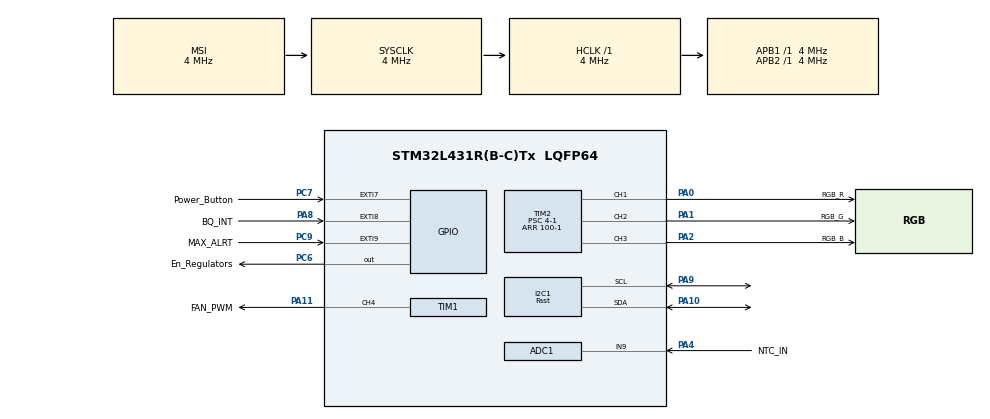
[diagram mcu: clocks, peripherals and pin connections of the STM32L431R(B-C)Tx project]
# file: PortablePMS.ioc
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ADC1.Channel-2\#ChannelRegularConversion=ADC_CHANNEL_9
ADC1.ClockPrescaler=ADC_CLOCK_ASYNC_DIV4
ADC1.NbrOfConversionFlag=1
ADC1.OffsetNumber-2\#ChannelRegularConversion=ADC_OFFSET_NONE
ADC1.Rank-2\#ChannelRegularConversion=1
ADC1.SamplingTime-2\#ChannelRegularConversion=ADC_SAMPLETIME_247CYCLES_5
ADC1.master=1
I2C1.I2C_Speed_Mode=I2C_Fast
I2C1.Timing=0x00000004
Mcu.Family=STM32L4
Mcu.Name=STM32L431R(B-C)Tx
Mcu.Package=LQFP64
NVIC.EXTI9_5_IRQn=true\:0\:0\:false\:false\:true\:true\:true\:true
NVIC.PriorityGroup=NVIC_PRIORITYGROUP_4
NVIC.TIM1_BRK_TIM15_IRQn=true\:0\:0\:false\:false\:true\:true\:true\:true
PA0.GPIO_Label=RGB_R
PA0.Signal=S_TIM2_CH1
PA1.GPIO_Label=RGB_G
PA1.Signal=S_TIM2_CH2
PA10.Mode=I2C
PA10.Signal=I2C1_SDA
PA11.GPIO_Label=FAN_PWM
PA11.Signal=S_TIM1_CH4
PA13\ (JTMS-SWDIO).Mode=Trace_Asynchronous_SW
PA13\ (JTMS-SWDIO).Signal=SYS_JTMS-SWDIO
PA14\ (JTCK-SWCLK).Mode=Trace_Asynchronous_SW
PA14\ (JTCK-SWCLK).Signal=SYS_JTCK-SWCLK
PA2.GPIO_Label=RGB_B
PA2.Signal=S_TIM2_CH3
PA4.GPIO_Label=NTC_IN
PA4.Signal=ADCx_IN9
PA8.GPIO_Label=BQ_INT
PA8.GPIO_ModeDefaultEXTI=GPIO_MODE_IT_FALLING
PA8.GPIO_PuPd=GPIO_PULLUP
PA8.Signal=GPXTI8
PA9.Mode=I2C
PA9.Signal=I2C1_SCL
PB3\ (JTDO-TRACESWO).Mode=Trace_Asynchronous_SW
PB3\ (JTDO-TRACESWO).Signal=SYS_JTDO-SWO
PC6.GPIO_Label=En_Regulators
PC6.Signal=GPIO_Output
PC7.GPIO_Label=Power_Button
PC7.GPIO_ModeDefaultEXTI=GPIO_MODE_IT_RISING_FALLING
PC7.GPIO_PuPd=GPIO_PULLUP
PC7.Signal=GPXTI7
PC9.GPIO_Label=MAX_ALRT
PC9.GPIO_ModeDefaultEXTI=GPIO_MODE_IT_FALLING
PC9.GPIO_PuPd=GPIO_PULLUP
PC9.Signal=GPXTI9
ProjectManager.HeapSize=0x200
ProjectManager.StackSize=0x400
ProjectManager.TargetToolchain=STM32CubeIDE
RCC.ADCCLockSelection=RCC_ADCCLKSOURCE_SYSCLK
RCC.ADCFreq_Value=4000000
RCC.AHBFreq_Value=4000000
RCC.APB1Freq_Value=4000000
RCC.APB1TimFreq_Value=4000000
RCC.APB2Freq_Value=4000000
RCC.APB2TimFreq_Value=4000000
RCC.CortexFreq_Value=4000000
RCC.HCLKFreq_Value=4000000
RCC.HSE_VALUE=8000000
RCC.HSI48_VALUE=48000000
RCC.HSI_VALUE=16000000
RCC.LSE_VALUE=32768
RCC.MSI_VALUE=4000000
RCC.PLLN=16
RCC.PLLSAI1N=16
RCC.SYSCLKFreq_VALUE=4000000
RCC.VCOOutputFreq_Value=64000000
SH.ADCx_IN9.0=ADC1_IN9,IN9-Single-Ended
SH.S_TIM1_CH4.0=TIM1_CH4,PWM Generation4 CH4
SH.S_TIM2_CH1.0=TIM2_CH1,PWM Generation1 CH1
SH.S_TIM2_CH2.0=TIM2_CH2,PWM Generation2 CH2
SH.S_TIM2_CH3.0=TIM2_CH3,PWM Generation3 CH3
TIM1.Channel-PWM\ Generation4\ CH4=TIM_CHANNEL_4
TIM1.Period=100
TIM1.Prescaler=4-1
TIM15.Period=50
TIM15.Prescaler=4000
TIM2.Channel-PWM\ Generation1\ CH1=TIM_CHANNEL_1
TIM2.Channel-PWM\ Generation2\ CH2=TIM_CHANNEL_2
TIM2.Channel-PWM\ Generation3\ CH3=TIM_CHANNEL_3
TIM2.Period=100-1
TIM2.Prescaler=4-1
VP_TIM15_VS_ClockSourceINT.Mode=Internal
VP_TIM1_VS_ClockSourceINT.Mode=Internal
VP_TIM2_VS_ClockSourceINT.Mode=Internal
board=custom

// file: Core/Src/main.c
/* USER CODE BEGIN Header */
/**
  ******************************************************************************
  * @file           : main.c
  * @brief          : Main program body
  ******************************************************************************
  * @attention
  *
  * Copyright (c) 2022 STMicroelectronics.
  * All rights reserved.
  *
  * This software is licensed under terms that can be found in the LICENSE file
  * in the root directory of this software component.
  * If no LICENSE file comes with this software, it is provided AS-IS.
  *
  ******************************************************************************
  */
/* USER CODE END Header */
#include "main.h"

/* USER CODE BEGIN Includes */
#include "pid.h"
#include "BQ24295.h"
#include "max17048.h"
#include "math.h"
/* USER CODE END Includes */

/* USER CODE BEGIN PD */

/*		MAIN CONTROLS		*/

#define ENABLEPID					true
#define USINGLM49450				true

/*debouncing Controls*/
#define BUTTON_DEBOUNCE_MS			100
#define BUTTON_SHORTPRESS_PERIOD	500
#define BUTTON_LONGPRESS_PERIOD		1000 //(total is (debounce + shortpress + longpress) periods
#define BUTTON_UNINTENTIONAL_PERIOD	4000 //pressed on random object

/*		PID CONTROLS		*/
double MeasuredTemperature;
double PIDOut;
double Temperautre_SetPoint = 40;
PID_TypeDef Fan_PID;

/* USER CODE END PD */

ADC_HandleTypeDef hadc1;

I2C_HandleTypeDef hi2c1;

TIM_HandleTypeDef htim1;
TIM_HandleTypeDef htim2;
TIM_HandleTypeDef htim15;

/* USER CODE BEGIN PV */
//TODO:
//IMPLEMENT ERRORS
uint8_t GLOBAL_errors = 0;	//Error codes in main.h (UNIMPLEMENTED YET)

/*		FLAGS		*/
bool BQ_FLAG = false;
bool MAX_FLAG = false;

bool PowerButtonDebounced = true;
bool IsPressPeriodStart = false;
bool PowerButtonShortPress = false;
bool PowerButtonLongPress = false;
bool PowerButtonUnintentionalPress = false;

bool SystemPowerState = false;
bool InitialSystemBoot = false;
bool RequestSleep = false;
bool IsSystemCharging = false;

/* USER CODE END PV */

void SystemClock_Config(void);
static void MX_GPIO_Init(void);
static void MX_I2C1_Init(void);
static void MX_TIM2_Init(void);
static void MX_TIM15_Init(void);
static void MX_ADC1_Init(void);
static void MX_TIM1_Init(void);

/* USER CODE BEGIN 0 */

void EnterSleepModeWakeOnInturrupt() {
	HAL_SuspendTick();
	HAL_PWR_EnterSLEEPMode(PWR_MAINREGULATOR_ON, PWR_SLEEPENTRY_WFI);
}
void WakeUpFromSleepMode(){
	HAL_ResumeTick();
}

/*		INURRUPT CODE		*/
void HAL_GPIO_EXTI_Callback(uint16_t GPIO_Pin)
{
	if(GPIO_Pin == BQ_INT_Pin) // BQ INT pin wake up
	{
		WakeUpFromSleepMode();
		BQ_FLAG = true;
	}
	if(GPIO_Pin == MAX_ALRT_Pin)
	{
		WakeUpFromSleepMode();
		MAX_FLAG = true;

	}
	if(GPIO_Pin == Power_Button_Pin)
	{
		if(HAL_GPIO_ReadPin(Power_Button_GPIO_Port, Power_Button_Pin) == GPIO_PIN_RESET
				&& PowerButtonDebounced && !IsPressPeriodStart)
		{
			HAL_TIM_Base_Start_IT(&htim15);	//Start Debounce
			PowerButtonDebounced = false;
		}
		if(HAL_GPIO_ReadPin(Power_Button_GPIO_Port, Power_Button_Pin) == GPIO_PIN_SET &&
				PowerButtonDebounced && IsPressPeriodStart && PowerButtonShortPress &&
				PowerButtonLongPress && !SystemPowerState)
		{
			//All conditions met turn ON system and clear for next button
			HAL_TIM_Base_Stop_IT(&htim15);
			__HAL_TIM_SET_AUTORELOAD(&htim15, BUTTON_DEBOUNCE_MS);	//Reset power button debounce period
			SystemPowerState = true;
			PowerButtonDebounced = true;
			IsPressPeriodStart = false;
			PowerButtonShortPress = false;
			PowerButtonLongPress = false;
		}
		else if(HAL_GPIO_ReadPin(Power_Button_GPIO_Port, Power_Button_Pin) == GPIO_PIN_SET &&
				PowerButtonDebounced && IsPressPeriodStart && PowerButtonShortPress &&
				PowerButtonLongPress && SystemPowerState)
		{
			//All conditions met turn OFF system and clear for next button
			HAL_TIM_Base_Stop_IT(&htim15);
			__HAL_TIM_SET_AUTORELOAD(&htim15, BUTTON_DEBOUNCE_MS);	//Reset power button debounce period
			SystemPowerState = false;
			PowerButtonDebounced = true;
			IsPressPeriodStart = false;
			PowerButtonShortPress = false;
			PowerButtonLongPress = false;
		}

	}

}

void HAL_TIM_PeriodElapsedCallback(TIM_HandleTypeDef *htim)
{
  /* Prevent unused argument(s) compilation warning */
  UNUSED(htim);

  /* NOTE : This function should not be modified, when the callback is needed,
            the HAL_TIM_PeriodElapsedCallback could be implemented in the user file
   */
	if(HAL_GPIO_ReadPin(Power_Button_GPIO_Port, Power_Button_Pin) == GPIO_PIN_RESET && !PowerButtonDebounced){
		HAL_TIM_Base_Stop_IT(&htim15);
		PowerButtonDebounced = true;

	}
	if(HAL_GPIO_ReadPin(Power_Button_GPIO_Port, Power_Button_Pin) == GPIO_PIN_RESET && !IsPressPeriodStart){

		__HAL_TIM_SET_AUTORELOAD(&htim15, BUTTON_SHORTPRESS_PERIOD);
		HAL_TIM_Base_Start_IT(&htim15);
		IsPressPeriodStart = true;
		PowerButtonShortPress = false;
	}
	else if(HAL_GPIO_ReadPin(Power_Button_GPIO_Port, Power_Button_Pin) == GPIO_PIN_RESET && !PowerButtonShortPress){
		HAL_TIM_Base_Stop_IT(&htim15);
		__HAL_TIM_SET_AUTORELOAD(&htim15, BUTTON_LONGPRESS_PERIOD);
		HAL_TIM_Base_Start_IT(&htim15);
		PowerButtonShortPress = true;
		PowerButtonLongPress = false;
	}
	else if(HAL_GPIO_ReadPin(Power_Button_GPIO_Port, Power_Button_Pin) == GPIO_PIN_RESET && !PowerButtonLongPress){
		HAL_TIM_Base_Stop_IT(&htim15);
		PowerButtonLongPress = true;
		PowerButtonUnintentionalPress = false;
		__HAL_TIM_SET_AUTORELOAD(&htim15, BUTTON_UNINTENTIONAL_PERIOD);
		HAL_TIM_Base_Start_IT(&htim15);
	}
	else if(HAL_GPIO_ReadPin(Power_Button_GPIO_Port, Power_Button_Pin) == GPIO_PIN_RESET && !PowerButtonUnintentionalPress)
	{
		//unintentional button press so clear everything for next press
		HAL_TIM_Base_Stop_IT(&htim15);
		__HAL_TIM_SET_AUTORELOAD(&htim15, BUTTON_DEBOUNCE_MS);	//Reset power button debounce period
		PowerButtonDebounced = true;
		IsPressPeriodStart = false;
		PowerButtonShortPress = false;
		PowerButtonLongPress = false;
	}

	if(HAL_GPIO_ReadPin(Power_Button_GPIO_Port, Power_Button_Pin) == GPIO_PIN_SET && IsPressPeriodStart)
	{
		//Cancelled press so clear everything for next press
		HAL_TIM_Base_Stop_IT(&htim15);
		__HAL_TIM_SET_AUTORELOAD(&htim15, BUTTON_DEBOUNCE_MS);	//Reset power button debounce period
		PowerButtonDebounced = true;
		IsPressPeriodStart = false;
		PowerButtonShortPress = false;
		PowerButtonLongPress = false;
		PowerButtonUnintentionalPress = false;
	}

}

/*
 * MAX17048
 */

#define Battery_UnderVoltage	3200
#define Battery_OverVoltage		4200
#define Battery_ResetVoltage	2500	//Set to 2.5V as advised in datasheet (P.13)
#define Battery_LowSOCAlert		30		//will send an alert when SOC(1-32%) decreases to assigned number

uint8_t CurrentBatteryPercentage;

bool MAX17048_Init()
{
	bool ok = true;
	if (ok) ok = max17048_is_present(&hi2c1);
	if (ok) ok = max17048_set_undervolted_voltage(&hi2c1, Battery_UnderVoltage);
	if (ok) ok = max17048_set_overvolted_voltage(&hi2c1, Battery_OverVoltage);
	if (ok) ok = max17048_set_reset_voltage(&hi2c1, Battery_ResetVoltage);
	if (ok) ok = max17048_set_bat_low_soc(&hi2c1, Battery_LowSOCAlert);
	if (ok) ok = max17048_set_voltage_reset_alert(&hi2c1, false);
	if (ok) ok = max17048_set_soc_change_alert(&hi2c1, false);
	if (ok) ok = max17048_clear_alerts(&hi2c1);
	return ok;
}

static int Remap (float value, float from1, float to1, float from2, float to2) {
	return ((value - from1) / (to1 - from1) * (to2 - from2)) + from2;
}

void Set_RGB(uint8_t Red,uint8_t Green,uint8_t Blue) {
	//invert 0-100 -> 100-0 in case LED is common Anode and grounded to STM's GPIO's
	Red = Remap(Red, 0, 100, 100, 0);
	Green = Remap(Green, 0, 100, 100, 0);
	Blue = Remap(Blue, 0, 100, 100, 0);
	TIM2->CCR1 = Red;
	TIM2->CCR2 = Green;
	TIM2->CCR3 = Blue;
}

/*
 * Temperature calculations
 */

float GetADCValue(float numberOfSamples)
{
	float averageRaw = 0;
	float i = 0;
	for (i = 0; i < numberOfSamples; ++i)
	{
		HAL_ADC_Start(&hadc1);
		HAL_ADC_PollForConversion(&hadc1, 10);
		averageRaw += HAL_ADC_GetValue(&hadc1);
		HAL_ADC_Stop(&hadc1);
	}

	return (averageRaw/numberOfSamples);

}

const double BALANCE_RESISTOR   = 9710.0;
const double MAX_ADC            = 4095.0;
const double BETA               = 3974.0;
const double ROOM_TEMP          = 298.15;   // room temperature in Kelvin
const double RESISTOR_ROOM_TEMP = 10000.0;

double readThermistor()
{

 double rThermistor = 0;            // Holds thermistor resistance value
 double tKelvin     = 0;            // Holds calculated temperature
 double tCelsius    = 0;            // Hold temperature in celsius
 double adcAverage  = 0;            // Holds the average voltage measurement

 adcAverage = GetADCValue(200);

 rThermistor = BALANCE_RESISTOR * ( (MAX_ADC / adcAverage) - 1);

 tKelvin = (BETA * ROOM_TEMP) /
           (BETA + (ROOM_TEMP * log(rThermistor / RESISTOR_ROOM_TEMP)));

 tCelsius = tKelvin - 273.15;  // convert kelvin to celsius

 return tCelsius;    // Return the temperature in Celsius
}

/* USER CODE END 0 */

int main(void)
{
  /* USER CODE BEGIN 1 */
#if (1)	//Init

  /* USER CODE END 1 */

  /* MCU Configuration--------------------------------------------------------*/

  /* Reset of all peripherals, Initializes the Flash interface and the Systick. */
  HAL_Init();

  /* Configure the system clock */
  SystemClock_Config();

  /* Initialize all configured peripherals */
  MX_GPIO_Init();
  MX_I2C1_Init();
  MX_TIM2_Init();
  MX_TIM15_Init();
  MX_ADC1_Init();
  MX_TIM1_Init();
  /* USER CODE BEGIN 2 */
#endif

  __HAL_TIM_SET_AUTORELOAD(&htim15, BUTTON_DEBOUNCE_MS);	//Set power button debounce period

  PID(&Fan_PID, &MeasuredTemperature, &PIDOut, &Temperautre_SetPoint, 2, 5, 1, _PID_P_ON_E, _PID_CD_REVERSE);
  PID_SetMode(&Fan_PID, _PID_MODE_AUTOMATIC);
  PID_SetSampleTime(&Fan_PID, 500);
  PID_SetOutputLimits(&Fan_PID, 5, 100);

  HAL_Delay(70);	// For stability

  HAL_ADCEx_Calibration_Start(&hadc1, ADC_SINGLE_ENDED);	//Calibrate ADC for better temperature reading

#if (USINGMAX17048)
  MAX17048_Init();
#endif

  if(!BQ_Init())
  {
	  HAL_TIM_PWM_Start(&htim2, TIM_CHANNEL_1);
	  HAL_TIM_PWM_Start(&htim2, TIM_CHANNEL_2);
	  HAL_TIM_PWM_Start(&htim2, TIM_CHANNEL_3);

	  while(1)		//if BQ not present, then warn using that it's not finding it by flashing red
	  {
		  Set_RGB(100, 0, 0);
		  HAL_Delay(250);
		  Set_RGB(0, 0, 0);
		  HAL_Delay(250);
	  }

  }

  HAL_Delay(70);	// For stability

  max17048_get_soc(&hi2c1, &CurrentBatteryPercentage);	//Get current Battery Percentage
  Set_RGB( 100, 100, 100 );

  /* USER CODE END 2 */

  /* Infinite loop */
  /* USER CODE BEGIN WHILE */
  while (1)
  {
	  if(BQ_FLAG)
	  {
		  BQ_FLAG = false;	//clear flag
		  /*
		   * TODO:
		   * something with the BQ INT
		   */
		  IsSystemCharging = BQ_IsCharging();
	  }

#if (USINGMAX17048)
	  if(MAX_FLAG)
	  {
		  MAX_FLAG = false;	//clear flag
	  }

#endif

	  if(SystemPowerState)
	  {
		  /*
		   * While system is running,the code below will always run
		   */

		  if(!InitialSystemBoot)	//Start a boot sequence once
		  {
			  InitialSystemBoot = true;	//Do it once
			  HAL_TIM_PWM_Start(&htim2, TIM_CHANNEL_1);	//R
			  HAL_TIM_PWM_Start(&htim2, TIM_CHANNEL_2);	//G
			  HAL_TIM_PWM_Start(&htim2, TIM_CHANNEL_3);	//B
			  HAL_TIM_PWM_Start(&htim1, TIM_CHANNEL_4);	//Fan PWM
			  Set_RGB( 100, 0, 0 );
			  HAL_Delay(100);
			  Set_RGB(0, 100, 0);
			  HAL_Delay(100);
			  Set_RGB(0, 0, 100);
			  HAL_Delay(200);
			  HAL_GPIO_WritePin(En_Regulators_GPIO_Port, En_Regulators_Pin, GPIO_PIN_SET);	//Turn on Regulators
		  }

		  if(IsSystemCharging)
		  {
			  max17048_get_soc(&hi2c1, &CurrentBatteryPercentage);	//Get current Battery Percentage
			  if(CurrentBatteryPercentage < 75)
			  {
				  Set_RGB(100, 64, 0);
			  }
			  else if(CurrentBatteryPercentage >= 75 && CurrentBatteryPercentage < 90)
			  {
				  Set_RGB(0, 100, 0);
			  }else
			  {
				  Set_RGB(0, 0, 100);
			  }
		  }
		  else
		  {
			  Set_RGB(Remap(CurrentBatteryPercentage, 0, 100, 100, 0), 0, Remap(CurrentBatteryPercentage, 0, 100, 40, 100));
		  }

		  //Get Temperature
		  MeasuredTemperature = readThermistor();
		  /* Run PID controller with the new measured temperature */
		  PID_Compute(&Fan_PID);
		  /* Set New Duty cycle output*/
		  TIM1->CCR4 =PIDOut;

	  }
	  else
	  {
			/*
			* While system is Down,the code below will always run
			*/

			if(InitialSystemBoot)	//Start shutdown sequence
			{
				InitialSystemBoot = false;
				Set_RGB( 0, 100, 0 );
				HAL_Delay(200);
				Set_RGB(0, 0, 100);
				HAL_Delay(200);
				Set_RGB( 0, 100, 0 );
				HAL_Delay(200);
				Set_RGB(0, 0, 100);
				HAL_Delay(200);
				Set_RGB(0, 0, 0);
				HAL_GPIO_WritePin(En_Regulators_GPIO_Port, En_Regulators_Pin, GPIO_PIN_RESET);	//Turn off Regulators
				HAL_TIM_PWM_Stop(&htim1, TIM_CHANNEL_4);	//Fan PWM
			}

			if(IsSystemCharging)
			{
				max17048_get_soc(&hi2c1, &CurrentBatteryPercentage);	//Get current Battery Percentage
				if(CurrentBatteryPercentage < 75)
				{
					Set_RGB(100, 64, 0);
				}
				else if(CurrentBatteryPercentage >= 75 && CurrentBatteryPercentage < 90)
				{
					Set_RGB(0, 100, 0);
				}else
				{
					Set_RGB(0, 0, 100);
				}
			}else
			{
				RequestSleep = true;
			}

	  }

	  if(RequestSleep)
	  {
		  EnterSleepModeWakeOnInturrupt();	//Will sleep here

		  RequestSleep = false;				//will wakeup here
	  }
    /* USER CODE END WHILE */

  }
}

void SystemClock_Config(void)
{
  RCC_OscInitTypeDef RCC_OscInitStruct = {0};
  RCC_ClkInitTypeDef RCC_ClkInitStruct = {0};

  /** Configure the main internal regulator output voltage
  */
  if (HAL_PWREx_ControlVoltageScaling(PWR_REGULATOR_VOLTAGE_SCALE1) != HAL_OK)
  {
    Error_Handler();
  }

  /** Initializes the RCC Oscillators according to the specified parameters
  * in the RCC_OscInitTypeDef structure.
  */
  RCC_OscInitStruct.OscillatorType = RCC_OSCILLATORTYPE_MSI;
  RCC_OscInitStruct.MSIState = RCC_MSI_ON;
  RCC_OscInitStruct.MSICalibrationValue = 0;
  RCC_OscInitStruct.MSIClockRange = RCC_MSIRANGE_6;
  RCC_OscInitStruct.PLL.PLLState = RCC_PLL_NONE;
  if (HAL_RCC_OscConfig(&RCC_OscInitStruct) != HAL_OK)
  {
    Error_Handler();
  }

  /** Initializes the CPU, AHB and APB buses clocks
  */
  RCC_ClkInitStruct.ClockType = RCC_CLOCKTYPE_HCLK|RCC_CLOCKTYPE_SYSCLK
                              |RCC_CLOCKTYPE_PCLK1|RCC_CLOCKTYPE_PCLK2;
  RCC_ClkInitStruct.SYSCLKSource = RCC_SYSCLKSOURCE_MSI;
  RCC_ClkInitStruct.AHBCLKDivider = RCC_SYSCLK_DIV1;
  RCC_ClkInitStruct.APB1CLKDivider = RCC_HCLK_DIV1;
  RCC_ClkInitStruct.APB2CLKDivider = RCC_HCLK_DIV1;

  if (HAL_RCC_ClockConfig(&RCC_ClkInitStruct, FLASH_LATENCY_0) != HAL_OK)
  {
    Error_Handler();
  }
}

static void MX_ADC1_Init(void)
{

  ADC_ChannelConfTypeDef sConfig = {0};

  /** Common config
  */
  hadc1.Instance = ADC1;
  hadc1.Init.ClockPrescaler = ADC_CLOCK_ASYNC_DIV4;
  hadc1.Init.Resolution = ADC_RESOLUTION_12B;
  hadc1.Init.DataAlign = ADC_DATAALIGN_RIGHT;
  hadc1.Init.ScanConvMode = ADC_SCAN_DISABLE;
  hadc1.Init.EOCSelection = ADC_EOC_SINGLE_CONV;
  hadc1.Init.LowPowerAutoWait = DISABLE;
  hadc1.Init.ContinuousConvMode = DISABLE;
  hadc1.Init.NbrOfConversion = 1;
  hadc1.Init.DiscontinuousConvMode = DISABLE;
  hadc1.Init.ExternalTrigConv = ADC_SOFTWARE_START;
  hadc1.Init.ExternalTrigConvEdge = ADC_EXTERNALTRIGCONVEDGE_NONE;
  hadc1.Init.DMAContinuousRequests = DISABLE;
  hadc1.Init.Overrun = ADC_OVR_DATA_PRESERVED;
  hadc1.Init.OversamplingMode = DISABLE;
  if (HAL_ADC_Init(&hadc1) != HAL_OK)
  {
    Error_Handler();
  }

  /** Configure Regular Channel
  */
  sConfig.Channel = ADC_CHANNEL_9;
  sConfig.Rank = ADC_REGULAR_RANK_1;
  sConfig.SamplingTime = ADC_SAMPLETIME_247CYCLES_5;
  sConfig.SingleDiff = ADC_SINGLE_ENDED;
  sConfig.OffsetNumber = ADC_OFFSET_NONE;
  sConfig.Offset = 0;
  if (HAL_ADC_ConfigChannel(&hadc1, &sConfig) != HAL_OK)
  {
    Error_Handler();
  }

}

static void MX_I2C1_Init(void)
{

  hi2c1.Instance = I2C1;
  hi2c1.Init.Timing = 0x00000004;
  hi2c1.Init.OwnAddress1 = 0;
  hi2c1.Init.AddressingMode = I2C_ADDRESSINGMODE_7BIT;
  hi2c1.Init.DualAddressMode = I2C_DUALADDRESS_DISABLE;
  hi2c1.Init.OwnAddress2 = 0;
  hi2c1.Init.OwnAddress2Masks = I2C_OA2_NOMASK;
  hi2c1.Init.GeneralCallMode = I2C_GENERALCALL_DISABLE;
  hi2c1.Init.NoStretchMode = I2C_NOSTRETCH_DISABLE;
  if (HAL_I2C_Init(&hi2c1) != HAL_OK)
  {
    Error_Handler();
  }

  /** Configure Analogue filter
  */
  if (HAL_I2CEx_ConfigAnalogFilter(&hi2c1, I2C_ANALOGFILTER_ENABLE) != HAL_OK)
  {
    Error_Handler();
  }

  /** Configure Digital filter
  */
  if (HAL_I2CEx_ConfigDigitalFilter(&hi2c1, 0) != HAL_OK)
  {
    Error_Handler();
  }

}

static void MX_TIM1_Init(void)
{

  TIM_ClockConfigTypeDef sClockSourceConfig = {0};
  TIM_MasterConfigTypeDef sMasterConfig = {0};
  TIM_OC_InitTypeDef sConfigOC = {0};
  TIM_BreakDeadTimeConfigTypeDef sBreakDeadTimeConfig = {0};

  htim1.Instance = TIM1;
  htim1.Init.Prescaler = 4-1;
  htim1.Init.CounterMode = TIM_COUNTERMODE_UP;
  htim1.Init.Period = 100;
  htim1.Init.ClockDivision = TIM_CLOCKDIVISION_DIV1;
  htim1.Init.RepetitionCounter = 0;
  htim1.Init.AutoReloadPreload = TIM_AUTORELOAD_PRELOAD_DISABLE;
  if (HAL_TIM_Base_Init(&htim1) != HAL_OK)
  {
    Error_Handler();
  }
  sClockSourceConfig.ClockSource = TIM_CLOCKSOURCE_INTERNAL;
  if (HAL_TIM_ConfigClockSource(&htim1, &sClockSourceConfig) != HAL_OK)
  {
    Error_Handler();
  }
  if (HAL_TIM_PWM_Init(&htim1) != HAL_OK)
  {
    Error_Handler();
  }
  sMasterConfig.MasterOutputTrigger = TIM_TRGO_RESET;
  sMasterConfig.MasterOutputTrigger2 = TIM_TRGO2_RESET;
  sMasterConfig.MasterSlaveMode = TIM_MASTERSLAVEMODE_DISABLE;
  if (HAL_TIMEx_MasterConfigSynchronization(&htim1, &sMasterConfig) != HAL_OK)
  {
    Error_Handler();
  }
  sConfigOC.OCMode = TIM_OCMODE_PWM1;
  sConfigOC.Pulse = 0;
  sConfigOC.OCPolarity = TIM_OCPOLARITY_HIGH;
  sConfigOC.OCFastMode = TIM_OCFAST_DISABLE;
  sConfigOC.OCIdleState = TIM_OCIDLESTATE_RESET;
  sConfigOC.OCNIdleState = TIM_OCNIDLESTATE_RESET;
  if (HAL_TIM_PWM_ConfigChannel(&htim1, &sConfigOC, TIM_CHANNEL_4) != HAL_OK)
  {
    Error_Handler();
  }
  sBreakDeadTimeConfig.OffStateRunMode = TIM_OSSR_DISABLE;
  sBreakDeadTimeConfig.OffStateIDLEMode = TIM_OSSI_DISABLE;
  sBreakDeadTimeConfig.LockLevel = TIM_LOCKLEVEL_OFF;
  sBreakDeadTimeConfig.DeadTime = 0;
  sBreakDeadTimeConfig.BreakState = TIM_BREAK_DISABLE;
  sBreakDeadTimeConfig.BreakPolarity = TIM_BREAKPOLARITY_HIGH;
  sBreakDeadTimeConfig.BreakFilter = 0;
  sBreakDeadTimeConfig.Break2State = TIM_BREAK2_DISABLE;
  sBreakDeadTimeConfig.Break2Polarity = TIM_BREAK2POLARITY_HIGH;
  sBreakDeadTimeConfig.Break2Filter = 0;
  sBreakDeadTimeConfig.AutomaticOutput = TIM_AUTOMATICOUTPUT_DISABLE;
  if (HAL_TIMEx_ConfigBreakDeadTime(&htim1, &sBreakDeadTimeConfig) != HAL_OK)
  {
    Error_Handler();
  }
  HAL_TIM_MspPostInit(&htim1);

}

static void MX_TIM2_Init(void)
{

  TIM_ClockConfigTypeDef sClockSourceConfig = {0};
  TIM_MasterConfigTypeDef sMasterConfig = {0};
  TIM_OC_InitTypeDef sConfigOC = {0};

  htim2.Instance = TIM2;
  htim2.Init.Prescaler = 4-1;
  htim2.Init.CounterMode = TIM_COUNTERMODE_UP;
  htim2.Init.Period = 100-1;
  htim2.Init.ClockDivision = TIM_CLOCKDIVISION_DIV1;
  htim2.Init.AutoReloadPreload = TIM_AUTORELOAD_PRELOAD_DISABLE;
  if (HAL_TIM_Base_Init(&htim2) != HAL_OK)
  {
    Error_Handler();
  }
  sClockSourceConfig.ClockSource = TIM_CLOCKSOURCE_INTERNAL;
  if (HAL_TIM_ConfigClockSource(&htim2, &sClockSourceConfig) != HAL_OK)
  {
    Error_Handler();
  }
  if (HAL_TIM_PWM_Init(&htim2) != HAL_OK)
  {
    Error_Handler();
  }
  sMasterConfig.MasterOutputTrigger = TIM_TRGO_RESET;
  sMasterConfig.MasterSlaveMode = TIM_MASTERSLAVEMODE_DISABLE;
  if (HAL_TIMEx_MasterConfigSynchronization(&htim2, &sMasterConfig) != HAL_OK)
  {
    Error_Handler();
  }
  sConfigOC.OCMode = TIM_OCMODE_PWM1;
  sConfigOC.Pulse = 0;
  sConfigOC.OCPolarity = TIM_OCPOLARITY_HIGH;
  sConfigOC.OCFastMode = TIM_OCFAST_DISABLE;
  if (HAL_TIM_PWM_ConfigChannel(&htim2, &sConfigOC, TIM_CHANNEL_1) != HAL_OK)
  {
    Error_Handler();
  }
  if (HAL_TIM_PWM_ConfigChannel(&htim2, &sConfigOC, TIM_CHANNEL_2) != HAL_OK)
  {
    Error_Handler();
  }
  if (HAL_TIM_PWM_ConfigChannel(&htim2, &sConfigOC, TIM_CHANNEL_3) != HAL_OK)
  {
    Error_Handler();
  }
  HAL_TIM_MspPostInit(&htim2);

}

static void MX_TIM15_Init(void)
{

  TIM_ClockConfigTypeDef sClockSourceConfig = {0};
  TIM_MasterConfigTypeDef sMasterConfig = {0};

  htim15.Instance = TIM15;
  htim15.Init.Prescaler = 4000;
  htim15.Init.CounterMode = TIM_COUNTERMODE_UP;
  htim15.Init.Period = 50;
  htim15.Init.ClockDivision = TIM_CLOCKDIVISION_DIV1;
  htim15.Init.RepetitionCounter = 0;
  htim15.Init.AutoReloadPreload = TIM_AUTORELOAD_PRELOAD_DISABLE;
  if (HAL_TIM_Base_Init(&htim15) != HAL_OK)
  {
    Error_Handler();
  }
  sClockSourceConfig.ClockSource = TIM_CLOCKSOURCE_INTERNAL;
  if (HAL_TIM_ConfigClockSource(&htim15, &sClockSourceConfig) != HAL_OK)
  {
    Error_Handler();
  }
  sMasterConfig.MasterOutputTrigger = TIM_TRGO_RESET;
  sMasterConfig.MasterSlaveMode = TIM_MASTERSLAVEMODE_DISABLE;
  if (HAL_TIMEx_MasterConfigSynchronization(&htim15, &sMasterConfig) != HAL_OK)
  {
    Error_Handler();
  }

}

static void MX_GPIO_Init(void)
{
  GPIO_InitTypeDef GPIO_InitStruct = {0};

  /* GPIO Ports Clock Enable */
  __HAL_RCC_GPIOA_CLK_ENABLE();
  __HAL_RCC_GPIOC_CLK_ENABLE();
  __HAL_RCC_GPIOB_CLK_ENABLE();

  /*Configure GPIO pin Output Level */
  HAL_GPIO_WritePin(En_Regulators_GPIO_Port, En_Regulators_Pin, GPIO_PIN_RESET);

  /*Configure GPIO pin : En_Regulators_Pin */
  GPIO_InitStruct.Pin = En_Regulators_Pin;
  GPIO_InitStruct.Mode = GPIO_MODE_OUTPUT_PP;
  GPIO_InitStruct.Pull = GPIO_NOPULL;
  GPIO_InitStruct.Speed = GPIO_SPEED_FREQ_LOW;
  HAL_GPIO_Init(En_Regulators_GPIO_Port, &GPIO_InitStruct);

  /*Configure GPIO pin : Power_Button_Pin */
  GPIO_InitStruct.Pin = Power_Button_Pin;
  GPIO_InitStruct.Mode = GPIO_MODE_IT_RISING_FALLING;
  GPIO_InitStruct.Pull = GPIO_PULLUP;
  HAL_GPIO_Init(Power_Button_GPIO_Port, &GPIO_InitStruct);

  /*Configure GPIO pin : MAX_ALRT_Pin */
  GPIO_InitStruct.Pin = MAX_ALRT_Pin;
  GPIO_InitStruct.Mode = GPIO_MODE_IT_FALLING;
  GPIO_InitStruct.Pull = GPIO_PULLUP;
  HAL_GPIO_Init(MAX_ALRT_GPIO_Port, &GPIO_InitStruct);

  /*Configure GPIO pin : BQ_INT_Pin */
  GPIO_InitStruct.Pin = BQ_INT_Pin;
  GPIO_InitStruct.Mode = GPIO_MODE_IT_FALLING;
  GPIO_InitStruct.Pull = GPIO_PULLUP;
  HAL_GPIO_Init(BQ_INT_GPIO_Port, &GPIO_InitStruct);

  /* EXTI interrupt init*/
  HAL_NVIC_SetPriority(EXTI9_5_IRQn, 0, 0);
  HAL_NVIC_EnableIRQ(EXTI9_5_IRQn);

}

void Error_Handler(void)
{
  __disable_irq();
  while (1)
  {
  }
}
